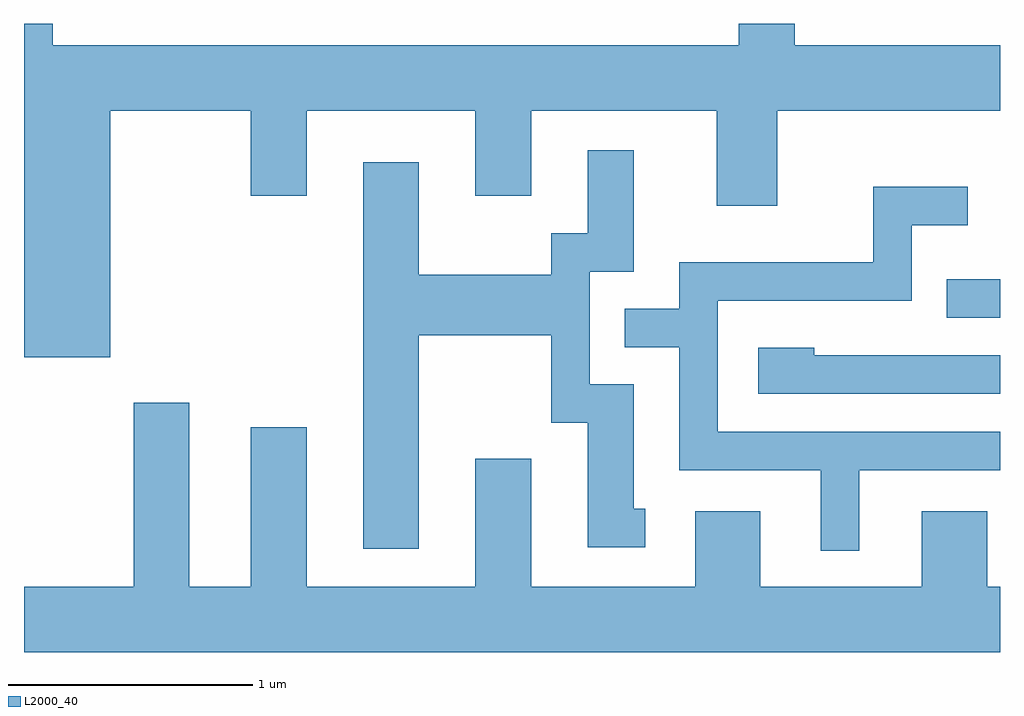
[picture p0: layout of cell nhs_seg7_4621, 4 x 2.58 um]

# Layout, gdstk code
import gdstk
lib = gdstk.Library(unit=1e-6, precision=1e-09)
def R(c, l, rs):  # rectangles x0, y0, x1, y1
    for r in rs: c.add(gdstk.rectangle(r[:2], r[2:], *l))
def P(c, l, *ps):  # polygons
    for p in ps: c.add(gdstk.Polygon(p, *l))
L2000_40 = (2000, 40)

nhs_seg7_4621 = lib.new_cell('nhs_seg7_4621')
R(nhs_seg7_4621, L2000_40, [(331.393,1689.046,331.611,1689.204)])
P(nhs_seg7_4621, L2000_40, [(327.964,1689.896),(328.541,1689.896),(328.541,1689.546),(328.769,1689.546),(328.769,1689.896),(329.461,1689.896),(329.461,1689.546),(329.689,1689.546),(329.689,1689.896),(330.451,1689.896),(330.451,1689.506),(330.699,1689.506),(330.699,1689.896),(331.611,1689.896),(331.611,1690.164),(330.769,1690.164),(330.769,1690.252),(330.541,1690.252),(330.541,1690.164),(327.729,1690.164),(327.729,1690.252),(327.611,1690.252),(327.611,1688.886),(327.964,1688.886)],
  [(329.229,1688.976),(329.771,1688.976),(329.771,1688.616),(329.921,1688.616),(329.921,1688.106),(330.158,1688.106),(330.158,1688.264),(330.109,1688.264),(330.109,1688.774),(329.929,1688.774),(329.929,1689.236),(330.109,1689.236),(330.109,1689.734),(329.921,1689.734),(329.921,1689.394),(329.771,1689.394),(329.771,1689.224),(329.229,1689.224),(329.229,1689.684),(329.001,1689.684),(329.001,1688.101),(329.229,1688.101)],
  [(331.034,1688.421),(331.611,1688.421),(331.611,1688.579),(330.454,1688.579),(330.454,1689.116),(331.249,1689.116),(331.249,1689.426),(331.478,1689.426),(331.478,1689.584),(331.091,1689.584),(331.091,1689.274),(330.296,1689.274),(330.296,1689.084),(330.073,1689.084),(330.073,1688.926),(330.296,1688.926),(330.296,1688.421),(330.876,1688.421),(330.876,1688.093),(331.034,1688.093)],
  [(331.611,1688.894),(330.849,1688.894),(330.849,1688.924),(330.621,1688.924),(330.621,1688.736),(331.611,1688.736)],
  [(331.611,1687.944),(331.559,1687.944),(331.559,1688.254),(331.291,1688.254),(331.291,1687.944),(330.629,1687.944),(330.629,1688.254),(330.361,1688.254),(330.361,1687.944),(329.689,1687.944),(329.689,1688.469),(329.461,1688.469),(329.461,1687.944),(328.769,1687.944),(328.769,1688.599),(328.541,1688.599),(328.541,1687.944),(328.289,1687.944),(328.289,1688.699),(328.061,1688.699),(328.061,1687.944),(327.611,1687.944),(327.611,1687.676),(331.611,1687.676)])

lib.write_gds('nhs_seg7_4621.gds')
